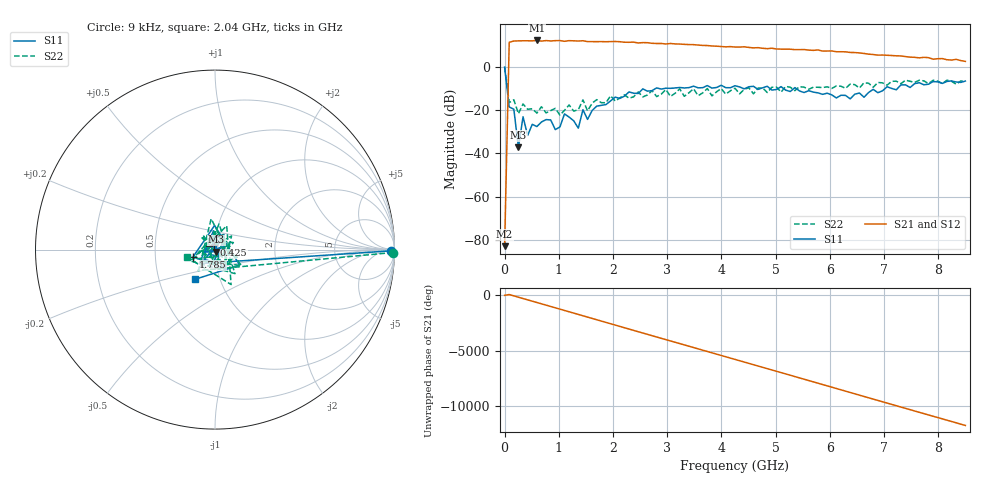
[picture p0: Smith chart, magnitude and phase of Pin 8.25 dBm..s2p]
! RsaToolbox (C) 2013 Rohde & Schwarz America
! Number of points: 101
! Number of ports: 2
! Balanced ports?: 0
# Hz S RI R 50
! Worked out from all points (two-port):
!   101 points, 9 kHz to 8.5 GHz, reference 50 ohm
!   highest |S21| = 12.11 dB at 595 MHz (marker M1); lowest = -82.8 dB at 9 kHz (marker M2)
!   |S21| within 3 dB of the highest: 83.05 MHz to 4.236 GHz (4.153 GHz wide, 192 % of centre); 4.372 GHz to 4.441 GHz (68.46 MHz wide, 1.55 % of centre)
!   lowest |S11| = -37.2 dB at 255 MHz (marker M3), VSWR 1.03, Z = 50.8 - j1.14 ohm
!   |S11| at or under -10 dB: 45.35 MHz to 2.789 GHz (2.744 GHz wide, 194 % of centre); 4.893 GHz to 5.048 GHz (154.8 MHz wide, 3.12 % of centre); 5.375 GHz to 7.021 GHz (1.646 GHz wide, 26.6 % of centre) (the widest 3 of 8)
!   |S22| runs from -22.3 to -0.1 dB; largest |S21 - S12| = 0
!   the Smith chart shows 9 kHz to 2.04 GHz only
!   S11 on the Smith chart (normalised r, x): 9 kHz: 81, -26; 425 MHz: 0.99, +0.05; 1.785 GHz: 0.78, -0.06; 2.04 GHz: 0.76, -0.26
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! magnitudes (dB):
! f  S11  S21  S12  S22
! 9 kHz  -0.2  -82.8  -82.8  -0.1
! 85.01 MHz  -18.6  11.3  11.3  -16.5
! 170 MHz  -19.6  11.9  11.9  -15.2
! 255 MHz  -37.2  11.9  11.9  -21.7
! 340 MHz  -23.1  12.0  12.0  -17.2
! 425 MHz  -31.7  12.0  12.0  -19.6
! 510 MHz  -26.6  11.9  11.9  -19.4
! 595 MHz  -27.6  12.1  12.1  -21.4
! 850 MHz  -24.5  11.9  11.9  -20.2
! 935 MHz  -29.0  12.0  12.0  -19.2
! 1.105 GHz  -21.8  11.7  11.7  -20.1
! 1.36 GHz  -28.4  11.8  11.8  -19.8
! 1.445 GHz  -19.8  12.0  12.0  -15.3
! 1.53 GHz  -24.3  11.6  11.6  -20.4
! 1.785 GHz  -17.8  11.6  11.6  -16.6
! 2.04 GHz  -14.0  11.6  11.6  -15.8
! 2.89 GHz  -10.3  10.7  10.7  -12.6
! 4.25 GHz  -8.8  9.1  9.1  -9.9
! 5.695 GHz  -11.7  7.5  7.5  -9.4
! 6.375 GHz  -14.8  6.6  6.6  -8.0
! 7.14 GHz  -10.0  5.2  5.2  -6.7
! 8.5 GHz  -6.6  2.4  2.4  -6.7
